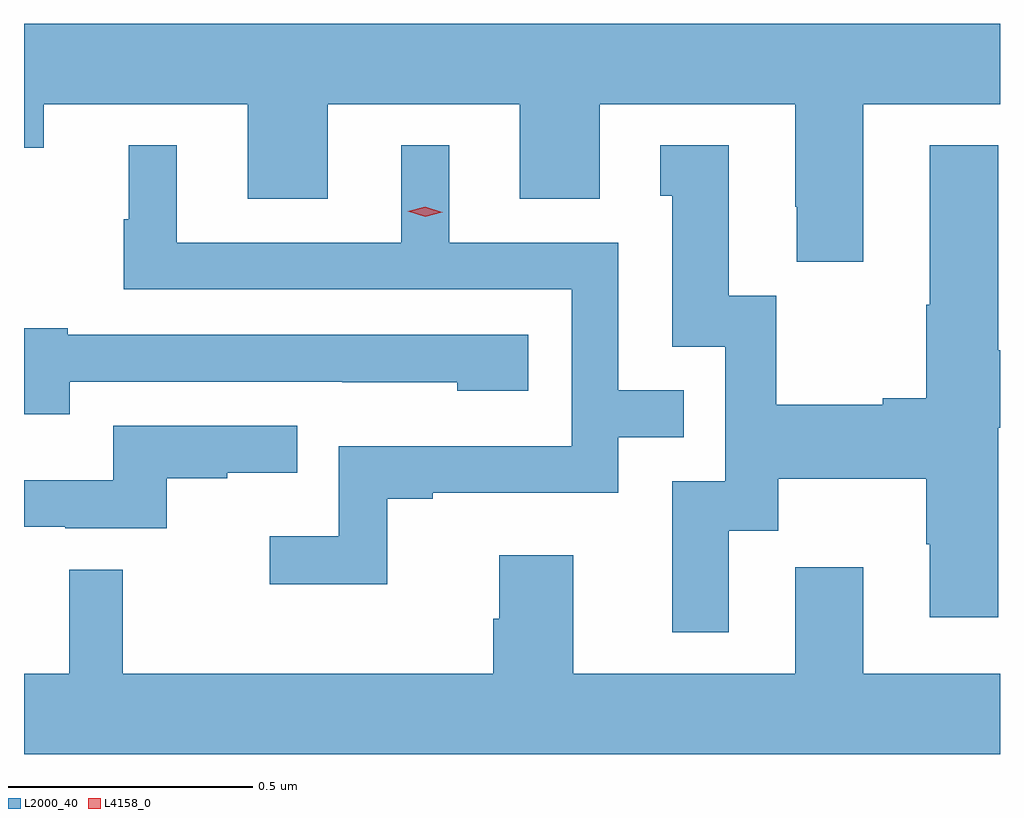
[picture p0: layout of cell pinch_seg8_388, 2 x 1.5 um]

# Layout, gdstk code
import gdstk
lib = gdstk.Library(unit=1e-6, precision=1e-09)
def P(c, l, *ps):  # polygons
    for p in ps: c.add(gdstk.Polygon(p, *l))
L2000_40 = (2000, 40)
L4158_0 = (4158, 0)

pinch_seg8_388 = lib.new_cell('pinch_seg8_388')
P(pinch_seg8_388, L2000_40, [(456.625,1097.852),(456.905,1097.852),(456.905,1098.016),(454.905,1098.016),(454.905,1097.762),(454.945,1097.762),(454.945,1097.852),(455.363,1097.852),(455.363,1097.658),(455.527,1097.658),(455.527,1097.852),(455.921,1097.852),(455.921,1097.658),(456.085,1097.658),(456.085,1097.852),(456.485,1097.852),(456.485,1097.641),(456.488,1097.641),(456.488,1097.529),(456.625,1097.529)],
  [(456.349,1096.978),(456.451,1096.978),(456.451,1097.084),(456.754,1097.084),(456.754,1096.95),(456.761,1096.95),(456.761,1096.8),(456.901,1096.8),(456.901,1097.189),(456.905,1097.189),(456.905,1097.347),(456.901,1097.347),(456.901,1097.767),(456.761,1097.767),(456.761,1097.441),(456.754,1097.441),(456.754,1097.249),(456.665,1097.249),(456.665,1097.236),(456.447,1097.236),(456.447,1097.459),(456.349,1097.459),(456.349,1097.767),(456.209,1097.767),(456.209,1097.664),(456.233,1097.664),(456.233,1097.355),(456.342,1097.355),(456.342,1097.079),(456.233,1097.079),(456.233,1096.77),(456.349,1096.77)],
  [(455.649,1097.043),(455.743,1097.043),(455.743,1097.055),(456.123,1097.055),(456.123,1097.169),(456.257,1097.169),(456.257,1097.265),(456.123,1097.265),(456.123,1097.568),(455.776,1097.568),(455.776,1097.767),(455.678,1097.767),(455.678,1097.568),(455.218,1097.568),(455.218,1097.767),(455.12,1097.767),(455.12,1097.616),(455.109,1097.616),(455.109,1097.472),(456.027,1097.472),(456.027,1097.151),(455.55,1097.151),(455.55,1096.966),(455.409,1096.966),(455.409,1096.868),(455.649,1096.868)],
  [(454.999,1097.283),(455.557,1097.283),(455.557,1097.282),(455.793,1097.282),(455.793,1097.264),(455.938,1097.264),(455.938,1097.379),(454.995,1097.379),(454.995,1097.392),(454.905,1097.392),(454.905,1097.216),(454.999,1097.216)],
  [(455.198,1097.085),(455.321,1097.085),(455.321,1097.096),(455.465,1097.096),(455.465,1097.193),(455.088,1097.193),(455.088,1097.081),(454.905,1097.081),(454.905,1096.986),(454.99,1096.986),(454.99,1096.983),(455.198,1096.983)],
  [(456.905,1096.684),(456.625,1096.684),(456.625,1096.903),(456.485,1096.903),(456.485,1096.684),(456.031,1096.684),(456.031,1096.927),(455.879,1096.927),(455.879,1096.797),(455.867,1096.797),(455.867,1096.684),(455.107,1096.684),(455.107,1096.898),(454.998,1096.898),(454.998,1096.684),(454.905,1096.684),(454.905,1096.52),(456.905,1096.52)])
P(pinch_seg8_388, L4158_0, [(455.727,1097.621),(455.691,1097.632),(455.691,1097.632),(455.691,1097.632),(455.727,1097.641),(455.762,1097.63),(455.763,1097.63),(455.762,1097.63)])

lib.write_gds('pinch_seg8_388.gds')
